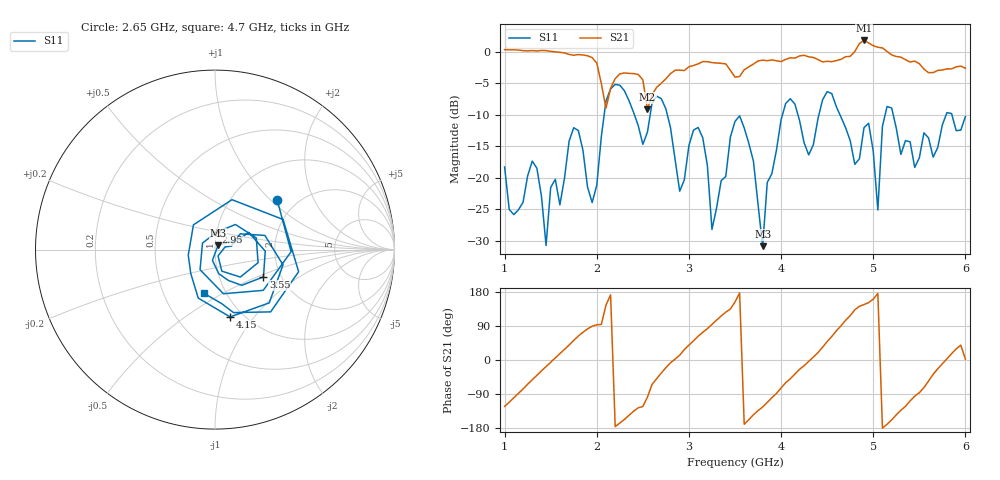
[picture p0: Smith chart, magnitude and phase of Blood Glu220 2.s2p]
! NanoVNA-App
! Date: 2024-03-21 16:43:03
! Start: 1GHz Stop: 6GHz Points: 101
! S-Parameter data: F S11 S21 S12 S22
# Hz S RI R 50
!	Frequency	S11_Real	S11_Imag	S21_Real	S21_Imag	S12_Real	S12_Imag	S22_Real	S22_Imag
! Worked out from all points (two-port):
!   101 points, 1 GHz to 6 GHz, reference 50 ohm
!   highest |S21| = 1.77 dB at 4.9 GHz (marker M1); lowest = -9.2 dB at 2.55 GHz (marker M2)
!   |S21| within 3 dB of the highest: start of sweep to 1.967 GHz; 4.65 GHz to 5.345 GHz (694.5 MHz wide, 13.9 % of centre)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
!   lowest |S11| = -30.8 dB at 3.8 GHz (marker M3), VSWR 1.06, Z = 51.7 + j2.4 ohm
!   |S11| at or under -10 dB: start of sweep to 2.08 GHz; 2.766 GHz to 4.015 GHz (1.249 GHz wide, 36.9 % of centre); 5.217 GHz to 5.791 GHz (574.4 MHz wide, 10.4 % of centre)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
!   S12 and S22 are empty: the file has one direction only
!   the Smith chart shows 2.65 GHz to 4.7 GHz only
!   S11 on the Smith chart (normalised r, x): 2.65 GHz: 1.59, +1.10; 2.95 GHz: 1.00, +0.19; 3.55 GHz: 1.63, -0.55; 4.15 GHz: 0.87, -0.77; 4.7 GHz: 0.79, -0.41
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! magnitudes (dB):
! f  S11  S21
! 1 GHz  -18.3  0.3
! 1.35 GHz  -18.5  0.1
! 1.45 GHz  -30.7  0.2
! 1.85 GHz  -15.6  -0.5
! 1.95 GHz  -23.9  -0.9
! 2.2 GHz  -5.2  -4.3
! 2.55 GHz  -12.7  -9.2
! 2.65 GHz  -7.1  -5.6
! 2.7 GHz  -7.4  -5.0
! 2.95 GHz  -20.3  -3.0
! 3.1 GHz  -12.0  -1.9
! 3.25 GHz  -28.2  -1.7
! 3.5 GHz  -11.1  -4.0
! 3.55 GHz  -10.2  -3.9
! 3.8 GHz  -30.8  -1.4
! 4.15 GHz  -8.3  -1.0
! 4.35 GHz  -14.8  -0.9
! 4.7 GHz  -12.0  -0.8
! 4.9 GHz  -12.0  1.8
! 5.05 GHz  -25.1  0.7
! 5.2 GHz  -8.9  -0.5
! 6 GHz  -10.3  -2.6
